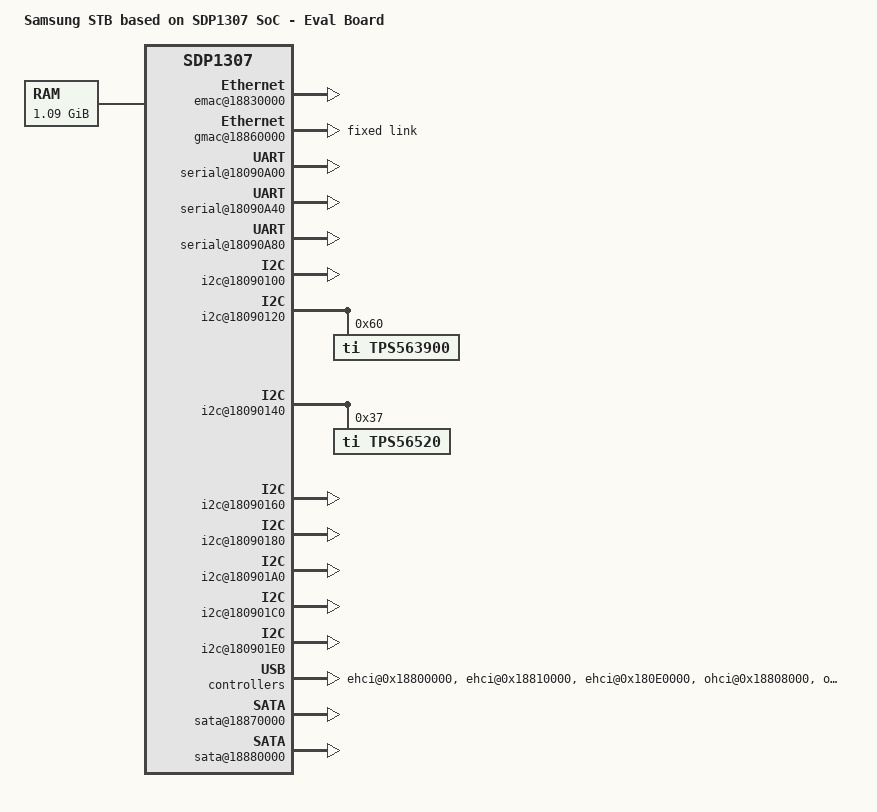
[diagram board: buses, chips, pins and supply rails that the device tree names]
/*
 * Copyright (C) 2013 Samsung Electronics Co.Ltd
 *
 * This program is free software; you can redistribute it and/or modify
 * it under the terms of the GNU General Public License version 2 as
 * published by the Free Software Foundation.
 */

/dts-v1/;
#include "sdp1307.dtsi"

/ {
	model = "Samsung STB based on SDP1307 SoC - Eval Board";
	compatible = "samsung,stb", "samsung,sdp1307";

	memory {
		device_type = "memory";
		reg =  <0x80000000 0x13A00000>, <0xc0000000 0x1B500000>, <0xe0000000 0x16D00000>;
	};

	chosen {
		bootargs = "console=ttyS2,115200N8 root=/dev/mmcblk0p3 rootfstype=squashfs rootwait earlyprintk sdp_sparsemem";
	};

	fixed-rate-clocks {
		fin {
			compatible = "samsung,sdp-clock-fin";
			clock-frequency = <24000000>;
		};
	};

	emac@18830000 {/* EMAC */
		status = "okay";
	};

	gmac@18860000 {/* GMAC*/
		status = "okay";

		fixed-link {/* for STB cable modem */
			phy-id = <0>;
			speed = <1000>;
			duplex = <1>;
			rgmii;
		};
	};

	serial@18090A00 {
		status = "okay";
	};

	serial@18090A40 {
		status = "okay";
	};

	serial@18090A80 {
		status = "okay";
	};

	i2c@18090100 {
		status = "okay";
		samsung,i2c-sda-delay = <1>;
		samsung,i2c-max-bus-freq = <400000>;
		samsung,i2c-irq-status-reg = <0x180901F4>;
		samsung,i2c-cpu-affinity = <1>;
	};
	
	i2c@18090120 {
		status = "okay";
		samsung,i2c-sda-delay = <1>;
		samsung,i2c-max-bus-freq = <400000>;
		samsung,i2c-irq-status-reg = <0x180901F4>;
		samsung,i2c-cpu-affinity = <1>;

		tps563900@60 {
			compatible = "ti,tps563900";
			reg = <0x60>;

			regulator-min-microvolt = <680000>;
			regulator-max-microvolt = <1630000>;
			regulator-always-on;
			regulator-boot-on;

			vout1-name = "CORE_PW";
			default_volt1 = <1100000>;

			vout2-name = "GPU_PW";
			default_volt2 = <1200000>;
		};
	};

	i2c@18090140 { 
		status = "okay";
		samsung,i2c-sda-delay = <1>;
		samsung,i2c-max-bus-freq = <400000>;
		samsung,i2c-irq-status-reg = <0x180901F4>;
		samsung,i2c-cpu-affinity = <1>;

		tps56520@37 {
			compatible = "ti,tps56520";
			reg = <0x37>;

			regulator-name = "CPU_PW";
			regulator-min-microvolt = <600000>;
			regulator-max-microvolt = <1870000>;
			regulator-always-on;
			regulator-boot-on;

			default_volt = <1280000>;
		};
	};

	i2c@18090160 {
		status = "okay";
		samsung,i2c-sda-delay = <1>;
		samsung,i2c-max-bus-freq = <400000>;
		samsung,i2c-irq-status-reg = <0x180901F4>;
		samsung,i2c-cpu-affinity = <1>;
	};

	i2c@18090180 {
		status = "okay";
		samsung,i2c-sda-delay = <1>;
		samsung,i2c-max-bus-freq = <400000>;
		samsung,i2c-irq-status-reg = <0x180901F4>;
		samsung,i2c-cpu-affinity = <1>;
	};

	i2c@180901A0 {
		status = "okay";
		samsung,i2c-sda-delay = <1>;
		samsung,i2c-max-bus-freq = <400000>;
		samsung,i2c-irq-status-reg = <0x180901F4>;
		samsung,i2c-cpu-affinity = <1>;
	};

	i2c@180901C0 {
		status = "okay";
		samsung,i2c-sda-delay = <1>;
		samsung,i2c-max-bus-freq = <400000>;
		samsung,i2c-irq-status-reg = <0x180901F4>;
	//	samsung,i2c-pad-enable = <0x10B00C40 0x8000>;
		samsung,i2c-cpu-affinity = <1>;
	};

	i2c@180901E0 {
		status = "okay";
		samsung,i2c-sda-delay = <1>;
		samsung,i2c-max-bus-freq = <400000>;
		samsung,i2c-irq-status-reg = <0x180901F4>;
	//	samsung,i2c-pad-enable = <0x10B00C40 0x10000>;
		samsung,i2c-cpu-affinity = <1>;

	};

/*
	dummy_panel {
		compatible = "dummy_panel";

		display-timings {
			native-mode = <&timing0>;

			timing0: timing-0 {
				 clock-frequency = <0>;
				 hactive = <1920>;
				 vactive = <1080>;
				 hfront-porch = <0>;
				 hback-porch = <0>;
				 hsync-len = <0>;
				 vfront-porch = <0>;
				 vback-porch = <0>;
				 vsync-len = <0>;
			};
		};
	};
*/

	ehci@0x18800000 {
		status = "okay";
		samsung,sw-reset = <0x18090000 0x8F4 0x1000>;
		samsung,ehci-gpr_reg1 = <0x18850000 0x18 0x002020>;
		samsung,ehci-link-set =  <0x18850000 0x1c 0x8e0000>;
		samsung,sw-reset-release = <0x18090000 0x8F4 0x1000>;
		samsung,vbus-enable = <0x18090000 0xD5C 0x3000000 0x40>; 
	};

	ehci@0x18810000 {
		status = "okay";
		samsung,sw-reset = <0x18090000 0x8F4 0x2000>;
		samsung,ehci-gpr_reg1 = <0x18850000 0x10 0x002020>;
		samsung,ehci-link-set =  <0x18850000 0x14 0x8e0000>;
		samsung,sw-reset-release = <0x18090000 0x8F4 0x2000>;
		samsung,vbus-enable = <0x18090000 0xD5C 0x300000 0x20>;
	};
	
	ehci@0x180E0000 {
		status = "okay";
		samsung,sw-reset = <0x18090000 0x8F4 0x4000>;
		samsung,ehci-gpr_reg1 = <0x180a0000 0x10 0x002020>;
		samsung,ehci-link-set = <0x180a0000 0x14 0x8e0000>;
		samsung,sw-reset-release = <0x18090000 0x8F4 0x4000>;
//		samsung,vbus-enable = <0x18090000 0xD5C 0x30000000 0x80>;
	};

	ohci@0x18808000 {
		status = "okay";
	};

	ohci@0x18818000 {
		status = "okay";
	};
	
	ohci@0x180E8000 {
		status = "okay";
	};
	
	sata@18870000 {
		status = "okay";
	};

	sata@18880000 {
		status = "okay";
	};
};
